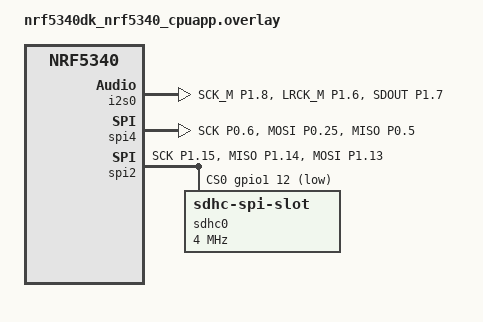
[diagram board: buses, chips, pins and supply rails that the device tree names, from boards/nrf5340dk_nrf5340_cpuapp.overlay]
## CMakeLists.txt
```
cmake_minimum_required(VERSION 3.20.0)
find_package(Zephyr REQUIRED HINTS $ENV{ZEPHYR_BASE})
project(zephyr_doom)

target_include_directories(app PRIVATE src/)
target_include_directories(app PRIVATE src/config)

set(DOOM_COMMON_SRCS
                src/main.c
                src/n_mem.c
                src/n_buttons.c
                src/i_timer.c
                src/n_rjoy.c
                src/deh_main.c
                src/deh_str.c
                src/doom/deh_misc.h
                src/doom/deh_misc.c
                src/d_event.c
                src/d_iwad.c
                src/d_mode.c
                src/d_loop.c
                src/i_system.c
                src/i_input.c
                src/i_video.c
                src/i_joystick.c
                src/i_sound.c
                src/m_argv.c
                src/m_bbox.c
                src/m_cheat.c
                src/m_config.c
                src/m_fixed.c
                src/m_misc.c
                src/m_controls.c
                src/net_client.c
                src/net_server.c
                src/tables.c
                src/v_diskicon.c
                src/v_video.c
                src/w_checksum.c
                src/w_file.c
                src/w_file_fatfs.c
                src/w_main.c
                src/w_wad.c
                src/z_native.c
                src/sha1.c
                src/doom/am_map.c
                src/doom/doomstat.c
                src/doom/d_main.c
                src/doom/d_net.c
                src/doom/d_items.c
                src/doom/dstrings.c
                src/doom/f_wipe.c
                src/doom/f_finale.c
                src/doom/g_game.c
                src/doom/hu_lib.c
                src/doom/hu_stuff.c
                src/doom/info.c
                src/doom/m_menu.c
                src/doom/m_random.c
                src/doom/p_doors.c
                src/doom/p_ceilng.c
                src/doom/p_enemy.c
                src/doom/p_floor.c
                src/doom/p_lights.c
                src/doom/p_plats.c
                src/doom/p_telept.c
                src/doom/p_setup.c
                src/doom/p_sight.c
                src/doom/p_saveg.c
                src/doom/p_map.c
                src/doom/p_maputl.c
                src/doom/p_mobj.c
                src/doom/p_inter.c
                src/doom/p_tick.c
                src/doom/p_spec.c
                src/doom/p_switch.c
                src/doom/p_pspr.c
                src/doom/p_user.c
                src/doom/r_bsp.c
                src/doom/r_main.c
                src/doom/r_data.c
                src/doom/r_draw.c
                src/doom/r_plane.c
                src/doom/r_segs.c
                src/doom/r_sky.c
                src/doom/r_things.c
                src/doom/s_sound.c
                src/doom/st_lib.c
                src/doom/st_stuff.c
                src/doom/statdump.c
                src/doom/sounds.c
                src/doom/wi_stuff.c
)

target_sources(app PRIVATE
                ${DOOM_COMMON_SRCS}
                src/n_qspi.c
)

if (CONFIG_FEATURE_DOOM_DISPLAY)
    target_sources(app PRIVATE src/n_display.c)
else()
    target_sources(app PRIVATE src/n_display_stub.c)
endif()

if (CONFIG_FEATURE_DOOM_AUDIO)
    target_sources(app PRIVATE
                    src/n_i2s.c
                    src/n_i2s_sound.c
    )
endif()

if (CONFIG_FEATURE_DOOM_BLE)
    target_sources(app PRIVATE src/bluetooth_control.c)
endif()

if (NOT (CONFIG_BOARD_NRF5340DK_NRF5340_CPUAPP OR CONFIG_BOARD_FRDM_MCXN947 OR CONFIG_BOARD_FRDM_MCXN947_MCXN947_CPU0))
    message(FATAL_ERROR "Unsupported board for unified_implementation: ${CONFIG_BOARD}")
endif()


# set C version
set(CMAKE_C_STANDARD 89)

# set oldest CPP version
set(CMAKE_CXX_STANDARD  98)
```

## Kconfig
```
mainmenu "Zephyr Kernel Configuration"

source "Kconfig.zephyr"

module = DOOM_MAIN
module-str = doom_main
source "subsys/logging/Kconfig.template.log_config"

menu "Zephyr Doom features"

config FEATURE_DOOM_AUDIO
	bool "Audio (I2S mixer output)"
	default n
	select I2S
	select I2S_MCUX_SAI if BOARD_FRDM_MCXN947 || BOARD_FRDM_MCXN947_MCXN947_CPU0
	help
	  Enable Doom audio output.

config FEATURE_DOOM_BLE
	bool "BLE input (HID clients via NCS helpers)"
	default n
	select BT
	select BT_CENTRAL
	select BT_SMP
	select BT_GATT_CLIENT
	select BT_SCAN
	select DK_LIBRARY if SOC_NRF5340_CPUAPP
	select BT_GATT_DM if SOC_NRF5340_CPUAPP
	select BT_HOGP if SOC_NRF5340_CPUAPP
	select BT_SCAN_FILTER_ENABLE if SOC_NRF5340_CPUAPP
	help
	  Enable BLE-based controllers.

	  Note (nRF5340 + NCS): you may also need NCS-specific bt_scan tuning
	  symbols (e.g. CONFIG_BT_SCAN_UUID_CNT). These symbols are not always
	  available on non-NCS trees, so keep them commented unless building
	  with nRF Connect SDK.

config FEATURE_DOOM_SD
	bool "SD card upload (copy WAD to external flash)"
	default n
	select DISK_DRIVERS
	select FILE_SYSTEM
	select DISK_ACCESS
	select FAT_FILESYSTEM_ELM
	help
	  Enable mounting an SD card and uploading a WAD into external flash.
	  Normal gameplay reads the WAD from external flash/XIP and does not
	  require this feature.

config FEATURE_DOOM_DISPLAY
	bool "Display output (FT810 over SPI)"
	default n
	select SPI
	select GPIO
	help
	  Enable FT810 display output. If disabled, Doom still renders internally
	  but no frames are sent to the display controller.

config FEATURE_DOOM_BUTTONS
	bool "GPIO buttons"
	default n
	depends on GPIO
	help
	  Enable GPIO button input via devicetree aliases sw0..sw3.

config FEATURE_DOOM_LEDS
	bool "Status LEDs"
	default n
	depends on GPIO
	help
	  Enable optional LED indications.

choice
	prompt "Feature preset"
	default FEATURE_DOOM_PRESET_CUSTOM
	help
	  Convenience presets that enable a set of features for some tested boards.

config FEATURE_DOOM_PRESET_CUSTOM
	bool "Custom (no preset)"

config FEATURE_DOOM_PRESET_NRF5340DK_NRF5340_CPUAPP
	bool "nrf5340dk_nrf5340_cpuapp"
	select FEATURE_DOOM_DISPLAY
	select FEATURE_DOOM_AUDIO
	select FEATURE_DOOM_BUTTONS
	select FEATURE_DOOM_LEDS
	select FEATURE_DOOM_SD
	select FEATURE_DOOM_BLE

config FEATURE_DOOM_PRESET_FRDM_MCXN947_MCXN947_CPU0
	bool "frdm_mcxn947_mcxn947_cpu0"
	select FEATURE_DOOM_DISPLAY
	select FEATURE_DOOM_AUDIO
	select FEATURE_DOOM_BUTTONS
	select FEATURE_DOOM_LEDS

endchoice

endmenu
```

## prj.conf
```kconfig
CONFIG_LOG=y
CONFIG_LOG_MODE_IMMEDIATE=y
CONFIG_PRINTK=y

# Feature toggles (comment/uncomment)
# Presets (pick one)
CONFIG_FEATURE_DOOM_PRESET_NRF5340DK_NRF5340_CPUAPP=y
# CONFIG_FEATURE_DOOM_PRESET_FRDM_MCXN947_MCXN947_CPU0=y
#
# OR choose features individually
# CONFIG_FEATURE_DOOM_SD=y
# CONFIG_FEATURE_DOOM_DISPLAY=y
# CONFIG_FEATURE_DOOM_AUDIO=y
# CONFIG_FEATURE_DOOM_BUTTONS=y
# CONFIG_FEATURE_DOOM_LEDS=y
#
# If CONFIG_FEATURE_DOOM_BLE is enabled on nRF5340 then bt_scan tuning may be
# required; keep NCS-only symbols in boards/nrf5340dk_nrf5340_cpuapp.conf.
# CONFIG_FEATURE_DOOM_BLE=y

CONFIG_MAIN_STACK_SIZE=4096
CONFIG_SYSTEM_WORKQUEUE_STACK_SIZE=2048
CONFIG_HEAP_MEM_POOL_SIZE=16384

# Common debug/metrics
CONFIG_CPU_LOAD=y
CONFIG_CPU_LOAD_LOG_PERIODICALLY=1000

# Common peripherals
CONFIG_GPIO=y
CONFIG_SPI=y
CONFIG_DISPLAY=y

# WAD-in-flash path expects these on both targets
CONFIG_FLASH=y
CONFIG_XIP=y

CONFIG_MAIN_THREAD_PRIORITY=4
```

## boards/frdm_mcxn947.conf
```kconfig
CONFIG_THREAD_RUNTIME_STATS=y
CONFIG_THREAD_RUNTIME_STATS_USE_TIMING_FUNCTIONS=y
CONFIG_TIMING_FUNCTIONS=y

CONFIG_HEAP_MEM_POOL_SIZE=55000

# Audio (I2S via MCUX SAI) requires a larger DMA TCD queue than Zephyr's default.
CONFIG_DMA_TCD_QUEUE_SIZE=4
```

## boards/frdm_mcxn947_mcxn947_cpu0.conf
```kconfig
## Minimal FRDM build: WAD-in-flash + display + buttons.
## SD card / filesystem disabled (usdhc0 conflicts with sai0 pins).
# CONFIG_DISK_DRIVERS is not set
# CONFIG_FILE_SYSTEM is not set
# CONFIG_DISK_ACCESS is not set
# CONFIG_FAT_FILESYSTEM_ELM is not set

## Bluetooth is nRF-only
# CONFIG_BT is not set

## Audio via Zephyr I2S (SAI0)
CONFIG_I2S=y
CONFIG_I2S_MCUX_SAI=y
CONFIG_DMA_TCD_QUEUE_SIZE=4

CONFIG_HEAP_MEM_POOL_SIZE=55000

CONFIG_THREAD_RUNTIME_STATS=y
CONFIG_THREAD_RUNTIME_STATS_USE_TIMING_FUNCTIONS=y
CONFIG_TIMING_FUNCTIONS=y
CONFIG_CPU_LOAD=y
CONFIG_CPU_LOAD_LOG_PERIODICALLY=1000
```

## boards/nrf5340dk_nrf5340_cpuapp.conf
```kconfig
# QSPI flash (Nordic)
CONFIG_NRFX_QSPI=y
CONFIG_NORDIC_QSPI_NOR=y
CONFIG_NORDIC_QSPI_NOR_XIP=y

# BLE scan tuning (Nordic/NCS bt_scan)
CONFIG_BT_SCAN_UUID_CNT=1
CONFIG_BT_SCAN_NAME_CNT=19
```

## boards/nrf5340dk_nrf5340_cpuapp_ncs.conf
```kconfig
# Optional extra config for nRF Connect SDK (NCS) builds.
#
# Use with e.g.:
#   west build ... -DEXTRA_CONF_FILE=boards/nrf5340dk_nrf5340_cpuapp_ncs.conf

CONFIG_DK_LIBRARY=y

# NCS Bluetooth helper libraries used by `src/bluetooth_control.c`
CONFIG_BT_GATT_DM=y
CONFIG_BT_HOGP=y
CONFIG_BT_SCAN=y
CONFIG_BT_SCAN_FILTER_ENABLE=y
CONFIG_BT_SCAN_UUID_CNT=1
CONFIG_BT_SCAN_NAME_CNT=19
```

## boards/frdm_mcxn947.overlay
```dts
&flexcomm1 {
	status = "okay";
};

// Keep SPI DMA enabled for display performance.
// Synchronization in n_display_zephyr_spi.c ensures sync register accesses do not
// overlap with async framebuffer DMA transfers.

/ {
	aliases {
		spi4 = &arduino_spi;
		i2s-tx = &sai0;
	};
};

&sram0 {
	reg = < 0x20000000 0x68000 >;
};

&sramg {
	status = "disabled";
};

&sramh {
	status = "disabled";
};

/* I2S audio via SAI0 → PCM5102 DAC.
 * SAI0 pins: TXD0=PIO2_2, TX_BCLK=PIO2_6, TX_FS=PIO2_7.
 * These pins conflict with sc_timer, flexpwm1_pwm0, and usdhc0.
 * Also move SAI0 onto dedicated EDMA channels so it does not collide with
 * the display SPI DMA channels used by arduino_spi. */
&sai0 {
	status = "okay";
	dmas = <&edma0 6 99>, <&edma0 7 100>;
	dma-names = "rx", "tx";
	nxp,rx-dma-channel = <6>;
	nxp,tx-dma-channel = <7>;
};

&sc_timer {
	status = "disabled";
};

&flexpwm1_pwm0 {
	status = "disabled";
};

&usdhc0 {
	status = "disabled";
};

&user_button_2 {
	status = "okay";
};

&user_button_3 {
	status = "okay";
};
```

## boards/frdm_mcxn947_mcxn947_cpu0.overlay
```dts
&flexcomm1 {
    status = "okay";
};

// Keep SPI DMA enabled for display performance.
// Synchronization in n_display_zephyr_spi.c ensures sync register accesses do not
// overlap with async framebuffer DMA transfers.

/ {
    aliases {
        spi4 = &arduino_spi;
        i2s-tx = &sai0;
    };
};

&sram0 {
    reg = <0x20000000 0x68000>;
};

&sramg {
    status = "disabled";
};

&sramh {
    status = "disabled";
};

/* I2S audio via SAI0 → PCM5102 DAC.
 * SAI0 pins: TXD0=PIO2_2, TX_BCLK=PIO2_6, TX_FS=PIO2_7.
 * These pins conflict with sc_timer, flexpwm1_pwm0, and usdhc0.
 * Also move SAI0 onto dedicated EDMA channels so it does not collide with
 * the display SPI DMA channels used by arduino_spi. */
&sai0 {
    status = "okay";
    dmas = <&edma0 6 99>, <&edma0 7 100>;
    dma-names = "rx", "tx";
    nxp,rx-dma-channel = <6>;
    nxp,tx-dma-channel = <7>;
};

&sc_timer {
    status = "disabled";
};

&flexpwm1_pwm0 {
    status = "disabled";
};

&usdhc0 {
    status = "disabled";
};

&user_button_2 {
    status = "okay";
};

&user_button_3 {
    status = "okay";
};
```

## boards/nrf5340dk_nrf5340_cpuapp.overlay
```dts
&pinctrl {
    i2s0_doom_pins: i2s0_doom_pins {
        group1 {
            psels = <NRF_PSEL(I2S_SCK_M, 1, 8)>,
                    <NRF_PSEL(I2S_LRCK_M, 1, 6)>,
                    <NRF_PSEL(I2S_SDOUT, 1, 7)>;
        };
    };

    spi4_ft810_pins: spi4_ft810_pins {
        group1 {
            psels = <NRF_PSEL(SPIM_SCK, 0, 6)>,
                    <NRF_PSEL(SPIM_MOSI, 0, 25)>,
                    <NRF_PSEL(SPIM_MISO, 0, 5)>;
            nordic,drive-mode = <3>;
        };
    };

    spi4_ft810_pins_sleep: spi4_ft810_pins_sleep {
        group1 {
            psels = <NRF_PSEL(SPIM_SCK, 0, 6)>,
                    <NRF_PSEL(SPIM_MOSI, 0, 25)>,
                    <NRF_PSEL(SPIM_MISO, 0, 5)>;
            nordic,drive-mode = <0>;
        };
    };

    spi2_default: spi2_default {
        group1 {
            psels = <NRF_PSEL(SPIM_SCK, 1, 15)>,
                    <NRF_PSEL(SPIM_MISO,1, 14)>,
                    <NRF_PSEL(SPIM_MOSI,1, 13)>;
        };
    };
};

/ {
    aliases {
        spi4 = &spi4;
        i2s-tx = &i2s0;
    };
};

&i2s0 {
    status = "okay";
    pinctrl-0 = <&i2s0_doom_pins>;
    pinctrl-names = "default";
    clock-source = "ACLK";
};

&clock {
    hfclkaudio-frequency = <11113200>;
};

&spi4 {
    status = "okay";
    pinctrl-0 = <&spi4_ft810_pins>;
    pinctrl-1 = <&spi4_ft810_pins_sleep>;
    pinctrl-names = "default", "sleep";
};

&spi2 {
    status = "okay";
    pinctrl-0 = <&spi2_default>;
    pinctrl-names = "default";

    cs-gpios = <&gpio1 12 (GPIO_ACTIVE_LOW | GPIO_PULL_UP)>;

    sdhc0: sdhc@0 {
        compatible = "zephyr,sdhc-spi-slot";
        reg = <0>;
        status = "okay";
        spi-max-frequency = <4000000>;
        mmc { compatible = "zephyr,sdmmc-disk"; disk-name = "SD"; status = "okay"; };
    };
};

&mx25r64 {
    sck-frequency = <32000000>;
};
```

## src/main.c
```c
/*
 * Unified Zephyr main entrypoint.
 *
 * - On boards that enable FATFS+disk access, mounts the disk and lists files.
 * - On nRF5340, performs the known-good HFCLK/cache bring-up.
 */

#include <zephyr/kernel.h>
#include <zephyr/logging/log.h>

#if defined(CONFIG_FILE_SYSTEM) && defined(CONFIG_DISK_ACCESS) && \
    defined(CONFIG_FAT_FILESYSTEM_ELM)
#include <ff.h>
#include <zephyr/fs/fs.h>
#include <zephyr/storage/disk_access.h>
#endif

#if defined(CONFIG_SOC_NRF5340_CPUAPP)
#include <hal/nrf_cache.h>
#include <hal/nrf_clock.h>
#include <nrfx_clock.h>
#endif

#if defined(CONFIG_FEATURE_DOOM_BLE)
#include "bluetooth_control.h"
#endif
#if defined(CONFIG_FEATURE_DOOM_AUDIO)
#include "n_i2s.h"
#endif

LOG_MODULE_REGISTER(doom_main, CONFIG_DOOM_MAIN_LOG_LEVEL);

int no_sdcard = 1;

void D_DoomMain(void);
void M_ArgvInit(void);
void N_ButtonsInit(void);

#if defined(CONFIG_SOC_NRF5340_CPUAPP)
static void platform_clock_cache_init(void) {
    nrfx_clock_hfclk_start();
    nrf_clock_hfclk_div_set(NRF_CLOCK_S, NRF_CLOCK_HFCLK_DIV_1);
    nrfx_clock_divider_set(NRF_CLOCK_DOMAIN_HFCLK192M, NRF_CLOCK_HFCLK_DIV_1);

    NRF_CACHE_S->ENABLE = 1;
}
#else
static void platform_clock_cache_init(void) {}
#endif

#if defined(CONFIG_FILE_SYSTEM) && defined(CONFIG_DISK_ACCESS) && \
    defined(CONFIG_FAT_FILESYSTEM_ELM)
#define DISK_DRIVE_NAME "SD"
#define DISK_MOUNT_PT "/" DISK_DRIVE_NAME ":"

static FATFS fat_fs;
static struct fs_mount_t mp = {
    .type = FS_FATFS,
    .fs_data = &fat_fs,
};
static const char* disk_mount_pt = DISK_MOUNT_PT;

static int lsdir(const char* path) {
    int res;
    struct fs_dir_t dirp;
    static struct fs_dirent entry;
    int count = 0;

    fs_dir_t_init(&dirp);

    res = fs_opendir(&dirp, path);
    if (res) {
        printk("Error opening dir %s [%d]\n", path, res);
        return res;
    }

    printk("\nListing dir %s ...\n", path);
    for (;;) {
        res = fs_readdir(&dirp, &entry);

        /* entry.name[0] == 0 means end-of-dir */
        if (res || entry.name[0] == 0) {
            break;
        }

        if (entry.type == FS_DIR_ENTRY_DIR) {
            printk("[DIR ] %s\n", entry.name);
        } else {
            printk("[FILE] %s (size = %zu)\n", entry.name, entry.size);
        }
        count++;
    }

    fs_closedir(&dirp);
    if (res == 0) {
        res = count;
    }

    return res;
}

static void try_mount_disk(void) {
    mp.mnt_point = disk_mount_pt;

    int res = fs_mount(&mp);
    if (res == FR_OK) {
        printk("Disk mounted.\n");
        no_sdcard = 0;
        lsdir(disk_mount_pt);
    } else {
        printk("Error mounting disk (%d).\n", res);
    }
}
#else
static void try_mount_disk(void) { no_sdcard = 1; }
#endif

int main(void) {
    LOG_INF("BOARD STARTING %s", CONFIG_BOARD);

    platform_clock_cache_init();

#if defined(CONFIG_FEATURE_DOOM_SD)
    try_mount_disk();
#else
    no_sdcard = 1;
#endif

    N_ButtonsInit();
#if defined(CONFIG_FEATURE_DOOM_AUDIO)
    N_I2S_init();
#endif
    M_ArgvInit();

#if defined(CONFIG_FEATURE_DOOM_BLE)
    int err = bluetooth_control_init();
    if (err) {
        LOG_ERR("Bluetooth control initialization failed.");
        return 0;
    }
#endif

    D_DoomMain();

    for (;;) {
        k_sleep(K_FOREVER);
    }
}
```

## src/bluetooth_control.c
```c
#include <errno.h>
#include <stddef.h>
#include <string.h>
#include <zephyr/kernel.h>
#include <zephyr/sys/printk.h>

// This Bluetooth controller implementation uses Nordic/NCS helper libraries
// (bt_scan, gatt_dm, hogp, dk_buttons). Those are not available in all Zephyr
// trees; when missing, build a stub instead of failing the build.
#if defined(__has_include)
#if __has_include(<bluetooth/gatt_dm.h>) && __has_include(<bluetooth/scan.h>) && \
    __has_include(<bluetooth/services/hogp.h>) && \
    __has_include(<dk_buttons_and_leds.h>)
#define DOOM_BLE_HAS_NCS_HELPERS 1
#else
#define DOOM_BLE_HAS_NCS_HELPERS 0
#endif
#else
#define DOOM_BLE_HAS_NCS_HELPERS 1
#endif

#if DOOM_BLE_HAS_NCS_HELPERS

#include <bluetooth/gatt_dm.h>
#include <bluetooth/scan.h>
#include <bluetooth/services/hogp.h>
#include <dk_buttons_and_leds.h>
#include <zephyr/bluetooth/bluetooth.h>
#include <zephyr/bluetooth/conn.h>
#include <zephyr/bluetooth/gatt.h>
#include <zephyr/bluetooth/hci.h>
#include <zephyr/bluetooth/uuid.h>
#include <zephyr/devicetree.h>
#include <zephyr/drivers/gpio.h>
#include <zephyr/settings/settings.h>
#include <zephyr/sys/byteorder.h>
#include <zephyr/types.h>

#include "d_event.h"
#include "doomkeys.h"
#include "m_controls.h"

#if defined(CONFIG_FEATURE_DOOM_LEDS) && DT_HAS_ALIAS(led2) && \
    DT_HAS_ALIAS(led3)
#define DOOM_BLE_STATUS_LEDS 1
#else
#define DOOM_BLE_STATUS_LEDS 0
#endif

#if DOOM_BLE_STATUS_LEDS
#define BLINK_INTERVAL_MS 500
#define LED1_NODE DT_ALIAS(led2)
#define LED2_NODE DT_ALIAS(led3)

static const struct gpio_dt_spec led1 = GPIO_DT_SPEC_GET(LED1_NODE, gpios);
static const struct gpio_dt_spec led2 = GPIO_DT_SPEC_GET(LED2_NODE, gpios);

static void blink_timer_handler(struct k_timer* timer_id) {
    ARG_UNUSED(timer_id);

    if (gpio_is_ready_dt(&led1)) {
        gpio_pin_toggle_dt(&led1);
    }
    if (gpio_is_ready_dt(&led2)) {
        gpio_pin_toggle_dt(&led2);
    }
}

K_TIMER_DEFINE(blink_timer, blink_timer_handler, NULL);
#endif

typedef enum {
    DEVICE_TYPE_NONE,
    DEVICE_TYPE_XBOX,
    DEVICE_TYPE_KEYBOARD,
} connected_device_t;

static struct bt_conn* default_conn;
static struct bt_conn* auth_conn;
static struct bt_hogp hogp;
static connected_device_t current_device_type = DEVICE_TYPE_NONE;

static void hids_on_ready(struct k_work* work);
static K_WORK_DEFINE(hids_ready_work, hids_on_ready);

static void parse_xbox_report(const uint8_t* data, size_t len) {
    static bool prev_dpad_up, prev_dpad_down, prev_button_back,
        prev_button_start;
    static event_t prev_joystick_event;

    event_t joystick_event;
    event_t keyboard_event;
    joystick_event.type = ev_joystick;
    keyboard_event.type = ev_keydown;

    bool dpad_up = data[12] == 0x01;
    bool dpad_down = data[12] == 0x05;
    bool button_A = data[13] == 0x01;
    bool button_B = data[13] == 0x02;
    bool button_X = data[13] == 0x08;
    bool button_Y = data[13] == 0x10;
    bool button_back = data[14] == 0x04;
    bool button_start = data[14] == 0x08;
    joystick_event.data1 =
        (button_A << 4) | (button_B << 5) | (button_X << 2) | (button_Y << 3);

    int32_t leftJoyX = (data[1] << 8 | data[0]);
    int32_t leftJoyY = (data[3] << 8 | data[2]);

    leftJoyX = ((leftJoyX - 32767) / (double)32767) * 65;
    leftJoyY = ((leftJoyY - 32767) / (double)32767) * 65;
    if (leftJoyX > -8 && leftJoyX < 8) {
        leftJoyX = 0;
    }
    if (leftJoyY > -8 && leftJoyY < 8) {
        leftJoyY = 0;
    }

    joystick_event.data2 = leftJoyX;
    joystick_event.data3 = leftJoyY;

    int16_t LT = data[8];
    int16_t RT = data[10];
    if (LT > 5) {
        joystick_event.data4 = -LT;
    } else if (RT > 5) {
        joystick_event.data4 = RT;
    } else {
        joystick_event.data4 = 0;
    }

    if (joystick_event.data1 != prev_joystick_event.data1 ||
        joystick_event.data2 != prev_joystick_event.data2 ||
        joystick_event.data3 != prev_joystick_event.data3 ||
        joystick_event.data4 != prev_joystick_event.data4) {
        D_PostEvent(&joystick_event);
        prev_joystick_event = joystick_event;
    }

    if (dpad_up && !prev_dpad_up) {
        keyboard_event.data1 = key_up;
        D_PostEvent(&keyboard_event);
    }
    if (dpad_down && !prev_dpad_down) {
        keyboard_event.data1 = key_down;
        D_PostEvent(&keyboard_event);
    }
    if (button_back && !prev_button_back) {
        keyboard_event.data1 = key_map_toggle;
        D_PostEvent(&keyboard_event);
    }
    if (button_start && !prev_button_start) {
        keyboard_event.data1 = key_menu_activate;
        D_PostEvent(&keyboard_event);
    }

    prev_dpad_up = dpad_up;
    prev_dpad_down = dpad_down;
    prev_button_back = button_back;
    prev_button_start = button_start;
}

static void parse_keyboard_report(const uint8_t* data, size_t len) {
    typedef struct {
        uint8_t hid;
        int doom;
        int ascii;
    } keymap_t;
    static const keymap_t key_map[] = {
        {0x04, 'a', 'a'},         {0x05, 'b', 'b'},
        {0x06, 'c', 'c'},         {0x07, 'd', 'd'},
        {0x08, 'e', 'e'},         {0x09, 'f', 'f'},
        {0x0A, 'g', 'g'},         {0x0B, 'h', 'h'},
        {0x0C, 'i', 'i'},         {0x0D, 'j', 'j'},
        {0x0E, 'k', 'k'},         {0x0F, 'l', 'l'},
        {0x10, 'm', 'm'},         {0x11, 'n', 'n'},
        {0x12, 'o', 'o'},         {0x13, 'p', 'p'},
        {0x14, 'q', 'q'},         {0x15, 'r', 'r'},
        {0x16, 's', 's'},         {0x17, 't', 't'},
        {0x18, 'u', 'u'},         {0x19, 'v', 'v'},
        {0x1A, 'w', 'w'},         {0x1B, 'x', 'x'},
        {0x1C, 'y', 'y'},         {0x1D, 'z', 'z'},
        {0x1E, '1', '1'},         {0x1F, '2', '2'},
        {0x20, '3', '3'},         {0x21, '4', '4'},
        {0x22, '5', '5'},         {0x23, '6', '6'},
        {0x24, '7', '7'},         {0x25, '8', '8'},
        {0x26, '9', '9'},         {0x27, '0', '0'},
        {0x28, KEY_ENTER, 0},     {0x29, KEY_ESCAPE, 0},
        {0x2A, KEY_BACKSPACE, 0}, {0x2B, KEY_TAB, 0},
        {0x2C, ' ', ' '},         {0x36, ',', ','},
        {0x37, '.', '.'},         {0x4F, KEY_RIGHTARROW, 0},
        {0x50, KEY_LEFTARROW, 0}, {0x51, KEY_DOWNARROW, 0},
        {0x52, KEY_UPARROW, 0},   {0x3A, KEY_F1, 0},
        {0x3B, KEY_F2, 0},        {0x3C, KEY_F3, 0},
        {0x3D, KEY_F4, 0},        {0x3E, KEY_F5, 0},
        {0x3F, KEY_F6, 0},        {0x40, KEY_F7, 0},
        {0x41, KEY_F8, 0},        {0x42, KEY_F9, 0},
        {0x43, KEY_F10, 0},       {0x44, KEY_F11, 0},
        {0x45, KEY_F12, 0},
    };
    typedef struct {
        uint8_t bitmask;
        int doom;
    } modmap_t;
    static const modmap_t mod_map[] = {
        {0x01, KEY_RCTRL}, {0x02, KEY_RSHIFT}, {0x04, KEY_RALT},
        {0x10, KEY_RCTRL}, {0x20, KEY_RSHIFT}, {0x40, KEY_RALT},
    };

    static uint8_t last_modifier_byte = 0;
    static uint8_t previously_pressed_hids[6] = {0};

    if (len < 8) return;

    uint8_t current_modifier_byte = data[0];
    int mod_map_size = sizeof(mod_map) / sizeof(mod_map[0]);

    for (int i = 0; i < mod_map_size; i++) {
        uint8_t bit = mod_map[i].bitmask;
        if ((current_modifier_byte & bit) && !(last_modifier_byte & bit)) {
            event_t e = {.type = ev_keydown, .data1 = mod_map[i].doom};
            D_PostEvent(&e);
        } else if (!(current_modifier_byte & bit) &&
                   (last_modifier_byte & bit)) {
            event_t e = {.type = ev_keyup, .data1 = mod_map[i].doom};
            D_PostEvent(&e);
        }
    }
    last_modifier_byte = current_modifier_byte;

    uint8_t current_pressed_hids[6];
    memcpy(current_pressed_hids, &data[2], sizeof(current_pressed_hids));
    int key_map_size = sizeof(key_map) / sizeof(key_map[0]);

    for (int i = 0; i < 6; i++) {
        uint8_t current_hid = current_pressed_hids[i];
        if (current_hid == 0x00 || current_hid == 0x01) continue;
        bool was_pressed_before = false;
        for (int j = 0; j < 6; j++) {
            if (previously_pressed_hids[j] == current_hid) {
                was_pressed_before = true;
                break;
            }
        }
        if (!was_pressed_before) {
            for (int k = 0; k < key_map_size; k++) {
                if (key_map[k].hid == current_hid) {
                    event_t e = {.type = ev_keydown,
                                 .data1 = key_map[k].doom,
                                 .data2 = key_map[k].ascii};
                    D_PostEvent(&e);
                    break;
                }
            }
        }
    }
    for (int i = 0; i < 6; i++) {
        uint8_t previous_hid = previously_pressed_hids[i];
        if (previous_hid == 0x00 || previous_hid == 0x01) continue;
        bool still_pressed = false;
        for (int j = 0; j < 6; j++) {
            if (current_pressed_hids[j] == previous_hid) {
                still_pressed = true;
                break;
            }
        }
        if (!still_pressed) {
            for (int k = 0; k < key_map_size; k++) {
                if (key_map[k].hid == previous_hid) {
                    event_t e = {.type = ev_keyup, .data1 = key_map[k].doom};
                    D_PostEvent(&e);
                    break;
                }
            }
        }
    }
    memcpy(previously_pressed_hids, current_pressed_hids,
           sizeof(previously_pressed_hids));
}

struct bt_gatt_dm {
    struct bt_conn* conn;
    void* context;
    struct bt_gatt_discover_params discover_params;
    struct bt_gatt_dm_attr attrs[CONFIG_BT_GATT_DM_MAX_ATTRS];
    size_t cur_attr_id;
    union {
        struct bt_uuid uuid;
        struct bt_uuid_16 u16;
        struct bt_uuid_32 u32;
        struct bt_uuid_128 u128;
    } svc_uuid;
    sys_slist_t chunk_list;
    size_t cur_chunk_len;
    const struct bt_gatt_dm_cb* cb;
    bool search_svc_by_uuid;
};

static bool is_device_xbox(struct bt_gatt_dm* dm) {
    const struct bt_uuid* xbox_uuid = BT_UUID_DECLARE_128(
        BT_UUID_128_ENCODE(BT_UUID_HIDS_REPORT_VAL, 0, 0, 0, 0));

    for (int i = 0; dm->attrs[i].handle != 0; i++) {
        if (dm->attrs[i].uuid->type == BT_UUID_TYPE_128) {
            if (!bt_uuid_cmp(dm->attrs[i].uuid, xbox_uuid)) {
                return true;
            }
        }
    }

    return false;
}

static void convert_xbox_uuids(struct bt_gatt_dm* dm) {
    for (int i = 0; dm->attrs[i].handle != 0; i++) {
        if (dm->attrs[i].uuid->type != BT_UUID_TYPE_128) {
            continue;
        }

        if (!bt_uuid_cmp(dm->attrs[i].uuid,
                         BT_UUID_DECLARE_128(BT_UUID_128_ENCODE(
                             BT_UUID_HIDS_REPORT_MAP_VAL, 0, 0, 0, 0)))) {
            dm->attrs[i].uuid->type = BT_UUID_TYPE_16;
            BT_UUID_16(dm->attrs[i].uuid)->val = BT_UUID_HIDS_REPORT_MAP_VAL;

        } else if (!bt_uuid_cmp(
                       dm->attrs[i].uuid,
                       BT_UUID_DECLARE_128(BT_UUID_128_ENCODE(
                           BT_UUID_HIDS_CTRL_POINT_VAL, 0, 0, 0, 0)))) {
            dm->attrs[i].uuid->type = BT_UUID_TYPE_16;
            BT_UUID_16(dm->attrs[i].uuid)->val = BT_UUID_HIDS_CTRL_POINT_VAL;

        } else if (!bt_uuid_cmp(dm->attrs[i].uuid,
                                BT_UUID_DECLARE_128(BT_UUID_128_ENCODE(
                                    BT_UUID_HIDS_REPORT_VAL, 0, 0, 0, 0)))) {
            dm->attrs[i].uuid->type = BT_UUID_TYPE_16;
            BT_UUID_16(dm->attrs[i].uuid)->val = BT_UUID_HIDS_REPORT_VAL;

        } else if (!bt_uuid_cmp(dm->attrs[i].uuid,
                                BT_UUID_DECLARE_128(BT_UUID_128_ENCODE(
                                    BT_UUID_HIDS_INFO_VAL, 0, 0, 0, 0)))) {
            dm->attrs[i].uuid->type = BT_UUID_TYPE_16;
            BT_UUID_16(dm->attrs[i].uuid)->val = BT_UUID_HIDS_INFO_VAL;
        }
    }
}

static uint8_t hogp_notify_cb(struct bt_hogp* hogp_ctx,
                              struct bt_hogp_rep_info* rep, uint8_t err,
                              const uint8_t* data) {
    if (err || !data) {
        return BT_GATT_ITER_STOP;
    }

    switch (current_device_type) {
        case DEVICE_TYPE_XBOX:
            parse_xbox_report(data, bt_hogp_rep_size(rep));
            break;
        case DEVICE_TYPE_KEYBOARD:
            parse_keyboard_report(data, bt_hogp_rep_size(rep));
            break;
        default:
            break;
    }

    return BT_GATT_ITER_CONTINUE;
}

static void discovery_completed_cb(struct bt_gatt_dm* dm, void* context) {
    printk("Discovery completed.\n");

#if DOOM_BLE_STATUS_LEDS
    k_timer_stop(&blink_timer);
#endif
    if (is_device_xbox(dm)) {
        printk("Device identified as: XBOX Controller\n");
        current_device_type = DEVICE_TYPE_XBOX;
        convert_xbox_uuids(dm);

#if DOOM_BLE_STATUS_LEDS
        gpio_pin_set_dt(&led1, 1);
        gpio_pin_set_dt(&led2, 0);
#endif
    } else {
        printk("Device identified as: Standard Keyboard\n");
        current_device_type = DEVICE_TYPE_KEYBOARD;

#if DOOM_BLE_STATUS_LEDS
        gpio_pin_set_dt(&led1, 0);
        gpio_pin_set_dt(&led2, 1);
#endif
    }

    int err = bt_hogp_handles_assign(dm, &hogp);
    if (err) {
        printk("Could not init HIDS client object, error: %d\n", err);
    }

    bt_gatt_dm_data_release(dm);
}

static void discovery_service_not_found_cb(struct bt_conn* conn,
                                           void* context) {
    printk("HIDS service not found.\n");
#if DOOM_BLE_STATUS_LEDS
    k_timer_start(&blink_timer, K_MSEC(BLINK_INTERVAL_MS),
                  K_MSEC(BLINK_INTERVAL_MS));
#endif
}

static void discovery_error_cb(struct bt_conn* conn, int err, void* context) {
    printk("Discovery failed, error: %d\n", err);
#if DOOM_BLE_STATUS_LEDS
    k_timer_start(&blink_timer, K_MSEC(BLINK_INTERVAL_MS),
                  K_MSEC(BLINK_INTERVAL_MS));
#endif
}

static const struct bt_gatt_dm_cb discovery_callbacks = {
    .completed = discovery_completed_cb,
    .service_not_found = discovery_service_not_found_cb,
    .error_found = discovery_error_cb,
};

static void gatt_discover(struct bt_conn* conn) {
    int err = bt_gatt_dm_start(conn, BT_UUID_HIDS, &discovery_callbacks, NULL);
    if (err) {
        printk("Could not start discovery, error: %d\n", err);
    }
}

static void security_changed(struct bt_conn* conn, bt_security_t level,
                             enum bt_security_err err) {
    if (err) {
        printk("Security failed: level %u, err %d\n", level, err);
        return;
    }
    printk("Security changed: level %u\n", level);
    gatt_discover(conn);
}

static void connected(struct bt_conn* conn, uint8_t conn_err) {
    if (conn_err) {
        printk("Connection failed (err %u)\n", conn_err);
        if (default_conn) {
            bt_conn_unref(default_conn);
            default_conn = NULL;
        }
        bt_scan_start(BT_SCAN_TYPE_SCAN_ACTIVE);
        return;
    }
    printk("Connected.\n");

    default_conn = bt_conn_ref(conn);
    int err = bt_conn_set_security(conn, BT_SECURITY_L2);
    if (err) {
        printk("Failed to set security: %d\n", err);
        gatt_discover(conn);
    }
}

static void disconnected(struct bt_conn* conn, uint8_t reason) {
    printk("Disconnected (reason 0x%02x)\n", reason);
    if (bt_hogp_assign_check(&hogp)) {
        bt_hogp_release(&hogp);
    }
    if (default_conn == conn) {
        bt_conn_unref(default_conn);
        default_conn = NULL;
        current_device_type = DEVICE_TYPE_NONE;

#if DOOM_BLE_STATUS_LEDS
        gpio_pin_set_dt(&led1, 0);
        gpio_pin_set_dt(&led2, 0);
        k_timer_start(&blink_timer, K_MSEC(BLINK_INTERVAL_MS),
                      K_MSEC(BLINK_INTERVAL_MS));
#endif

        bt_scan_start(BT_SCAN_TYPE_SCAN_ACTIVE);
    }
}

BT_CONN_CB_DEFINE(conn_callbacks) = {
    .connected = connected,
    .disconnected = disconnected,
    .security_changed = security_changed,
};

static void hids_on_ready(struct k_work* work) {
    printk("HIDS is ready. Subscribing to reports...\n");
    struct bt_hogp_rep_info* rep = NULL;
    while (NULL != (rep = bt_hogp_rep_next(&hogp, rep))) {
        if (bt_hogp_rep_type(rep) == BT_HIDS_REPORT_TYPE_INPUT) {
            int err = bt_hogp_rep_subscribe(&hogp, rep, hogp_notify_cb);
            if (err) {
                printk("Subscribe error (%d) for report id %u\n", err,
                       bt_hogp_rep_id(rep));
            } else {
                printk("Subscribed to report id %u\n", bt_hogp_rep_id(rep));
            }
        }
    }
}

static void hogp_ready_cb(struct bt_hogp* hogp_ctx) {
    k_work_submit(&hids_ready_work);
}

static void hogp_prep_fail_cb(struct bt_hogp* hogp_ctx, int err) {
    printk("ERROR: HIDS client preparation failed (%d)!\n", err);
}

static void scan_init(void) {
    struct bt_scan_init_param scan_init_param = {.connect_if_match = 1};
    bt_scan_init(&scan_init_param);
    BT_SCAN_CB_INIT(scan_callbacks, NULL, NULL, NULL, NULL);
    bt_scan_cb_register(&scan_callbacks);
    bt_scan_filter_add(BT_SCAN_FILTER_TYPE_UUID, BT_UUID_HIDS);
    bt_scan_filter_enable(BT_SCAN_UUID_FILTER, false);
}

static void num_comp_reply(bool accept) {
    if (accept) {
        bt_conn_auth_passkey_confirm(auth_conn);
    } else {
        bt_conn_auth_cancel(auth_conn);
    }
    bt_conn_unref(auth_conn);
    auth_conn = NULL;
}

static void button_handler(uint32_t button_state, uint32_t has_changed) {
    if (auth_conn) {
        if (has_changed & button_state & DK_BTN1_MSK) num_comp_reply(true);
        if (has_changed & button_state & DK_BTN2_MSK) num_comp_reply(false);
    }
}

static void auth_passkey_confirm(struct bt_conn* conn, unsigned int passkey) {
    char addr[BT_ADDR_LE_STR_LEN];
    bt_addr_le_to_str(bt_conn_get_dst(conn), addr, sizeof(addr));
    printk("Passkey for %s: %06u\n", addr, passkey);
    printk("Press Button 1 to confirm, Button 2 to reject.\n");
    auth_conn = bt_conn_ref(conn);
}

static void auth_cancel(struct bt_conn* conn) {
    printk("Pairing cancelled.\n");
}

static struct bt_conn_auth_cb auth_callbacks = {
    .passkey_confirm = auth_passkey_confirm,
    .cancel = auth_cancel,
};

int bluetooth_control_init(void) {
    int err;
    printk("Initializing Unified Bluetooth Controller\n");

#if DOOM_BLE_STATUS_LEDS
    if (!gpio_is_ready_dt(&led1) || !gpio_is_ready_dt(&led2)) {
        printk("LEDs not ready; continuing without status LEDs\n");
    } else {
        err = gpio_pin_configure_dt(&led1, GPIO_OUTPUT_INACTIVE);
        if (err) {
            printk("Error %d: failed to configure LED1 pin\n", err);
            return err;
        }
        err = gpio_pin_configure_dt(&led2, GPIO_OUTPUT_INACTIVE);
        if (err) {
            printk("Error %d: failed to configure LED2 pin\n", err);
            return err;
        }
        k_timer_start(&blink_timer, K_MSEC(BLINK_INTERVAL_MS),
                      K_MSEC(BLINK_INTERVAL_MS));
    }
#endif

    const struct bt_hogp_init_params hogp_init_params = {
        .ready_cb = hogp_ready_cb,
        .prep_error_cb = hogp_prep_fail_cb,
    };
    bt_hogp_init(&hogp, &hogp_init_params);

    err = bt_conn_auth_cb_register(&auth_callbacks);
    if (err) {
        printk("Failed to register authorization callbacks.\n");
        return err;
    }

    err = dk_buttons_init(button_handler);
    if (err) {
        printk("Failed to initialize buttons (err %d)\n", err);
        return err;
    }

    err = bt_enable(NULL);
    if (err) {
        printk("Bluetooth init failed (err %d)\n", err);
        return err;
    }
    printk("Bluetooth initialized\n");

    if (IS_ENABLED(CONFIG_SETTINGS)) {
        settings_load();
        printk("Settings loaded.\n");
    }

    scan_init();

    err = bt_scan_start(BT_SCAN_TYPE_SCAN_ACTIVE);
    if (err) {
        printk("Scanning failed to start (err %d)\n", err);
        return err;
    }
    printk("Scanning successfully started\n");
    return 0;
}

#else

int bluetooth_control_init(void) {
    printk(
        "Bluetooth controller not supported in this Zephyr tree "
        "(missing NCS HOGP helper libraries).\n");
    return -ENOTSUP;
}

#endif
```

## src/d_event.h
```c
//
// Copyright(C) 1993-1996 Id Software, Inc.
// Copyright(C) 2005-2014 Simon Howard
//
// This program is free software; you can redistribute it and/or
// modify it under the terms of the GNU General Public License
// as published by the Free Software Foundation; either version 2
// of the License, or (at your option) any later version.
//
// This program is distributed in the hope that it will be useful,
// but WITHOUT ANY WARRANTY; without even the implied warranty of
// MERCHANTABILITY or FITNESS FOR A PARTICULAR PURPOSE.  See the
// GNU General Public License for more details.
//
// DESCRIPTION:
//
//


#ifndef __D_EVENT__
#define __D_EVENT__


#include "doomtype.h"


//
// Event handling.
//

// Input event types.
typedef enum
{
    // Key press/release events.
    //    data1: Key code (from doomkeys.h) of the key that was
    //           pressed or released. This is the key as it appears
    //           on a US keyboard layout, and does not change with
    //           layout.
    // For ev_keydown only:
    //    data2: ASCII representation of the key that was pressed that
    //           changes with the keyboard layout; eg. if 'Z' is
    //           pressed on a German keyboard, data1='y',data2='z'.
    //           Not affected by modifier keys.
    //    data3: ASCII input, fully modified according to keyboard
    //           layout and any modifier keys that are held down.
    //           Only set if I_StartTextInput() has been called.
    ev_keydown,
    ev_keyup,

    // Mouse movement event.
    //    data1: Bitfield of buttons currently held down.
    //           (bit 0 = left; bit 1 = right; bit 2 = middle).
    //    data2: X axis mouse movement (turn).
    //    data3: Y axis mouse movement (forward/backward).
    ev_mouse,

    // Joystick state.
    //    data1: Bitfield of buttons currently pressed.
    //    data2: X axis mouse movement (turn).
    //    data3: Y axis mouse movement (forward/backward).
    //    data4: Third axis mouse movement (strafe).
    //    data5: Fourth axis mouse movement (look)
    ev_joystick,

    // Quit event. Triggered when the user clicks the "close" button
    // to terminate the application.
    ev_quit
} evtype_t;

// Event structure.
typedef struct __attribute__((packed))
{
    evtype_t type;

    // Event-specific data; see the descriptions given above.
    // NRFD-NOTE: Changed from int to short
    short data1, data2, data3, data4, data5;
} event_t;


//
// Button/action code definitions.
//
typedef enum
{
    // Press "Fire".
    BT_ATTACK       = 1,
    // Use button, to open doors, activate switches.
    BT_USE      = 2,

    // Flag: game events, not really buttons.
    BT_SPECIAL      = 128,
    BT_SPECIALMASK  = 3,

    // Flag, weapon change pending.
    // If true, the next 3 bits hold weapon num.
    BT_CHANGE       = 4,
    // The 3bit weapon mask and shift, convenience.
    BT_WEAPONMASK   = (8+16+32),
    BT_WEAPONSHIFT  = 3,

    // Pause the game.
    BTS_PAUSE       = 1,
    // Save the game at each console.
    BTS_SAVEGAME    = 2,

    // Savegame slot numbers
    //  occupy the second byte of buttons.
    BTS_SAVEMASK    = (4+8+16),
    BTS_SAVESHIFT   = 2,

} buttoncode_t;

// villsa [STRIFE] Strife specific buttons
// TODO - not finished
typedef enum
{
    // Player view look up
    BT2_LOOKUP          = 1,
    // Player view look down
    BT2_LOOKDOWN        = 2,
    // Center player's view
    BT2_CENTERVIEW      = 4,
    // Use inventory item
    BT2_INVUSE          = 8,
    // Drop inventory item
    BT2_INVDROP         = 16,
    // Jump up and down
    BT2_JUMP            = 32,
    // Use medkit
    BT2_HEALTH          = 128,

} buttoncode2_t;




// Called by IO functions when input is detected.
void D_PostEvent (event_t *ev);

// Read an event from the event queue

event_t *D_PopEvent(void);


#endif
```

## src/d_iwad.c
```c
//
// Copyright(C) 2005-2014 Simon Howard
//
// This program is free software; you can redistribute it and/or
// modify it under the terms of the GNU General Public License
// as published by the Free Software Foundation; either version 2
// of the License, or (at your option) any later version.
//
// This program is distributed in the hope that it will be useful,
// but WITHOUT ANY WARRANTY; without even the implied warranty of
// MERCHANTABILITY or FITNESS FOR A PARTICULAR PURPOSE.  See the
// GNU General Public License for more details.
//
// DESCRIPTION:
//     Search for and locate an IWAD file, and initialize according
//     to the IWAD type.
//

#include <stdio.h>
#include <stdlib.h>
#include <ctype.h>
#include <string.h>
#ifndef SEGGER
#include <strings.h>
#endif

#include "doomkeys.h"
#include "d_iwad.h"
#include "deh_str.h"
#include "i_system.h"
#include "m_argv.h"
#include "m_config.h"
#include "m_misc.h"
#include "w_wad.h"
#include "z_zone.h"

#include "n_mem.h"

static const iwad_t iwads[] =
{
    { "doom.wad",     doom,      retail,     "Doom" },
    { "doom1.wad",    doom,      shareware,  "Doom Shareware" },
    { "doom2.wad",    doom2,     commercial, "Doom II" },
    /*
    { "plutonia.wad", pack_plut, commercial, "Final Doom: Plutonia Experiment" },
    { "tnt.wad",      pack_tnt,  commercial, "Final Doom: TNT: Evilution" },
    { "chex.wad",     pack_chex, retail,     "Chex Quest" },
    { "hacx.wad",     pack_hacx, commercial, "Hacx" },
    { "freedm.wad",   doom2,     commercial, "FreeDM" },
    { "freedoom2.wad", doom2,    commercial, "Freedoom: Phase 2" },
    { "freedoom1.wad", doom,     retail,     "Freedoom: Phase 1" },
    { "heretic.wad",  heretic,   retail,     "Heretic" },
    { "heretic1.wad", heretic,   shareware,  "Heretic Shareware" },
    { "hexen.wad",    hexen,     commercial, "Hexen" },
    //{ "strife0.wad",  strife,    commercial, "Strife" }, // haleyjd: STRIFE-FIXME
    { "strife1.wad",  strife,    commercial, "Strife" },*/
};

// Array of locations to search for IWAD files
//
// "128 IWAD search directories should be enough for anybody".

/* NRFD-TODO?
#define MAX_IWAD_DIRS 128

static boolean iwad_dirs_built = false;
static char *iwad_dirs[MAX_IWAD_DIRS];
static int num_iwad_dirs = 0;
*/

static void AddIWADDir(char *dir)
{
    /* NRFD_TODO?
    if (num_iwad_dirs < MAX_IWAD_DIRS)
    {
        iwad_dirs[num_iwad_dirs] = dir;
        ++num_iwad_dirs;
    }
    */
}


// Check if the specified directory contains the specified IWAD
// file, returning the full path to the IWAD if found, or NULL
// if not found.

static char *CheckDirectoryHasIWAD(char *dir, char *iwadname)
{
    char *filename;
    char *probe;

    // As a special case, the "directory" may refer directly to an
    // IWAD file if the path comes from DOOMWADDIR or DOOMWADPATH.

    // probe = M_FileCaseExists(dir);
    // if (DirIsFile(dir, iwadname) && probe != NULL)
    // {
    //     return probe;
    // }

    // Construct the full path to the IWAD if it is located in
    // this directory, and check if it exists.

/* NRFD-TODO?
    if (!strcmp(dir, "."))
    {
        filename = M_StringDuplicate(iwadname);
    }
    else
    {
        filename = M_StringJoin(dir, DIR_SEPARATOR_S, iwadname, NULL);
    }

    probe = M_FileCaseExists(filename);
    if (probe != NULL)
    {
        return probe;
    }

    free(filename);
    */
    probe = M_FileCaseExists(iwadname);
    if (probe != NULL)
    {
        return probe;
    }

    return NULL;
}

// Search a directory to try to find an IWAD
// Returns the location of the IWAD if found, otherwise NULL.

static char *SearchDirectoryForIWAD(char *dir, int mask, GameMission_t *mission)
{
    char *filename;
    size_t i;

    for (i=0; i<arrlen(iwads); ++i)
    {
        if (((1 << iwads[i].mission) & mask) == 0)
        {
            continue;
        }

        filename = CheckDirectoryHasIWAD(dir, DEH_String(iwads[i].name));

        if (filename != NULL)
        {
            *mission = iwads[i].mission;

            return filename;
        }
    }

    return NULL;
}

// When given an IWAD with the '-iwad' parameter,
// attempt to identify it by its name.

static GameMission_t IdentifyIWADByName(char *name, int mask)
{
    size_t i;
    GameMission_t mission;
    char *p;

    p = strrchr(name, DIR_SEPARATOR);

    if (p != NULL)
    {
        name = p + 1;
    }

    mission = none;

    for (i=0; i<arrlen(iwads); ++i)
    {
        // Check if the filename is this IWAD name.

        // Only use supported missions:

        if (((1 << iwads[i].mission) & mask) == 0)
            continue;

        // Check if it ends in this IWAD name.

        if (!strcasecmp(name, iwads[i].name))
        {
            mission = iwads[i].mission;
            break;
        }
    }

    return mission;
}


//
// Build a list of IWAD files
//

static void BuildIWADDirList(void)
{
    return; /* NRFD-TODO?
    char *env;

    if (iwad_dirs_built)
    {
        return;
    }

    // Only look in root
    AddIWADDir("");
    */

}

//
// Searches WAD search paths for an WAD with a specific filename.
//
char *D_FindWADByName(char *name)
{
    char *path;
    char *probe;
    int i;

    // Absolute path?

    probe = M_FileCaseExists(name);
    if (probe != NULL)
    {
        return probe;
    }

    BuildIWADDirList();

    // Search through all IWAD paths for a file with the given name.
    /* NRFD-TODO?
    for (i=0; i<num_iwad_dirs; ++i)
    {
        // As a special case, if this is in DOOMWADDIR or DOOMWADPATH,
        // the "directory" may actually refer directly to an IWAD
        // file.
        probe = M_FileCaseExists(iwad_dirs[i]);
        if (DirIsFile(iwad_dirs[i], name) && probe != NULL)
        {
            return probe;
        }

        // Construct a string for the full path

        path = M_StringJoin(iwad_dirs[i], DIR_SEPARATOR_S, name, NULL);

        probe = M_FileCaseExists(path);
        if (probe != NULL)
        {
            return probe;
        }

        free(path);
    }
    */

    probe = M_FileCaseExists(name);
    if (probe != NULL)
    {
        return probe;
    }


    // File not found
    return NULL;
}

//
// D_TryWADByName
//
// Searches for a WAD by its filename, or passes through the filename
// if not found.
//

char *D_TryFindWADByName(char *filename)
{
    char *result;

    result = D_FindWADByName(filename);

    if (result != NULL)
    {
        return result;
    }
    else
    {
        return filename;
    }
}

//
// FindIWAD
// Checks availability of IWAD files by name,
// to determine whether registered/commercial features
// should be executed (notably loading PWADs).
//

char *D_FindIWAD(int mask, GameMission_t *mission)
{
    char *result;
    char *iwadfile;
    int iwadparm;
    int i;

    // Check for the -iwad parameter

    //!
    // Specify an IWAD file to use.
    //
    // @arg <file>
    //

    iwadparm = M_CheckParmWithArgs("-iwad", 1);

    if (iwadparm)
    {
        // Search through IWAD dirs for an IWAD with the given name.

        iwadfile = myargv[iwadparm + 1];

        result = D_FindWADByName(iwadfile);

        if (result == NULL)
        {
            I_Error("IWAD file '%s' not found!", iwadfile);
        }

        *mission = IdentifyIWADByName(result, mask);
    }
    else
    {
        // Search through the list and look for an IWAD

        result = NULL;

        /* NRFD-TODO?
        BuildIWADDirList();

        for (i=0; result == NULL && i<num_iwad_dirs; ++i)
        {
            result = SearchDirectoryForIWAD(iwad_dirs[i], mask, mission);
        }
        */
        result = SearchDirectoryForIWAD("", mask, mission);
    }

    return result;
}

// Find all IWADs in the IWAD search path matching the given mask.

const iwad_t **D_FindAllIWADs(int mask)
{
    const iwad_t **result;
    int result_len;
    char *filename;
    int i;

    result = N_malloc(sizeof(iwad_t *) * (arrlen(iwads) + 1));
    result_len = 0;

    // Try to find all IWADs

    for (i=0; i<arrlen(iwads); ++i)
    {
        if (((1 << iwads[i].mission) & mask) == 0)
        {
            continue;
        }

        filename = D_FindWADByName(iwads[i].name);

        if (filename != NULL)
        {
            result[result_len] = &iwads[i];
            ++result_len;
        }
    }

    // End of list

    result[result_len] = NULL;

    return result;
}

//
// Get the IWAD name used for savegames.
//

char *D_SaveGameIWADName(GameMission_t gamemission)
{
    size_t i;

    // Determine the IWAD name to use for savegames.
    // This determines the directory the savegame files get put into.
    //
    // Note that we match on gamemission rather than on IWAD name.
    // This ensures that doom1.wad and doom.wad saves are stored
    // in the same place.

    for (i=0; i<arrlen(iwads); ++i)
    {
        if (gamemission == iwads[i].mission)
        {
            return iwads[i].name;
        }
    }

    // Default fallback:

    return "unknown.wad";
}

char *D_SuggestIWADName(GameMission_t mission, GameMode_t mode)
{
    int i;

    for (i = 0; i < arrlen(iwads); ++i)
    {
        if (iwads[i].mission == mission && iwads[i].mode == mode)
        {
            return iwads[i].name;
        }
    }

    return "unknown.wad";
}

char *D_SuggestGameName(GameMission_t mission, GameMode_t mode)
{
    int i;

    for (i = 0; i < arrlen(iwads); ++i)
    {
        if (iwads[i].mission == mission
         && (mode == indetermined || iwads[i].mode == mode))
        {
            return iwads[i].description;
        }
    }

    return "Unknown game?";
}
```

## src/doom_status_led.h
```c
#pragma once

#ifdef __cplusplus
extern "C" {
#endif

typedef enum {
    DOOM_STATUS_LED_LOADING = 0,
    DOOM_STATUS_LED_RUNNING = 1,
    DOOM_STATUS_LED_CRASHED = 2,
} doom_status_led_state_t;

void doom_status_led_init(void);
void doom_status_led_set(doom_status_led_state_t state);

#ifdef __cplusplus
}
#endif
```
